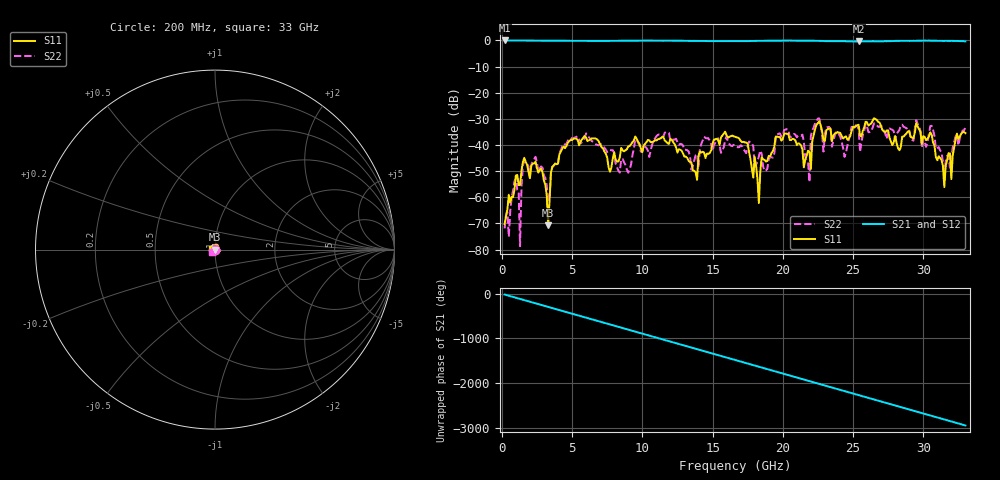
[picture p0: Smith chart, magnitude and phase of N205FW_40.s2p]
# GHZ S RI R 50
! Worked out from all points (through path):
!   329 points, 200 MHz to 33 GHz, reference 50 ohm
!   highest |S21| = -0.01 dB at 200 MHz (marker M1); lowest = -0.4 dB at 25.4 GHz (marker M2)
!   group delay of S21, straight-line fit = 248 ps
!   lowest |S11| = -70.7 dB at 3.3 GHz (marker M3), VSWR 1.00, Z = 50 - j0.0277 ohm
!   |S11| at or under -10 dB: start of sweep to end of sweep
!   |S22| runs from -78.7 to -29.9 dB; largest |S21 - S12| = 0.0022
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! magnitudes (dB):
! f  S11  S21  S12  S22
! 200 MHz  -70.3  0.0  0.0  -71.9
! 1 GHz  -51.7  0.0  0.0  -53.1
! 1.3 GHz  -55.3  0.0  0.0  -78.7
! 1.6 GHz  -44.9  0.0  0.0  -46.1
! 2.8 GHz  -48.9  0.0  0.0  -48.2
! 3.3 GHz  -70.7  -0.1  -0.1  -61.7
! 3.6 GHz  -48.3  -0.1  -0.1  -48.4
! 5.7 GHz  -37.9  -0.2  -0.2  -38.9
! 9 GHz  -40.5  -0.1  -0.1  -50.6
! 11.2 GHz  -37.7  -0.1  -0.1  -36.0
! 13.9 GHz  -53.4  -0.2  -0.2  -43.7
! 16.6 GHz  -36.9  -0.3  -0.3  -40.5
! 18.3 GHz  -62.2  -0.2  -0.2  -44.4
! 19.5 GHz  -36.7  -0.1  -0.1  -36.8
! 21.4 GHz  -41.8  -0.1  -0.1  -36.0
! 21.9 GHz  -42.5  -0.1  -0.1  -54.2
! 22.1 GHz  -38.5  -0.1  -0.1  -34.4
! 25.4 GHz  -32.3  -0.4  -0.4  -33.8
! 27.6 GHz  -37.3  -0.2  -0.2  -33.7
! 30.5 GHz  -35.2  -0.1  -0.1  -32.7
! 31.5 GHz  -56.1  -0.2  -0.2  -51.9
! 33 GHz  -35.5  -0.4  -0.4  -33.3
